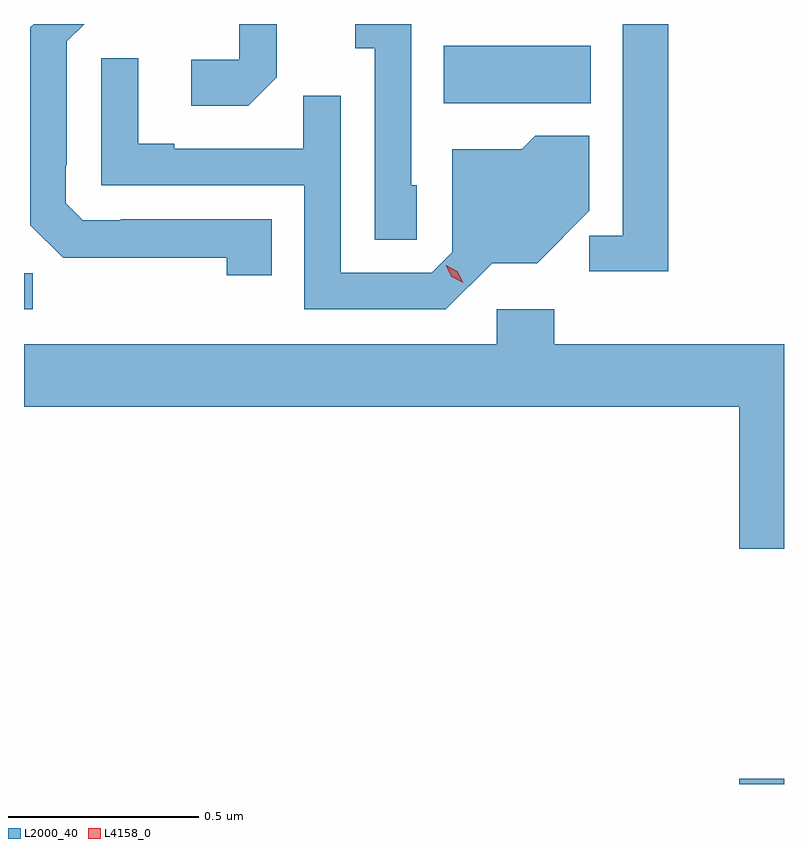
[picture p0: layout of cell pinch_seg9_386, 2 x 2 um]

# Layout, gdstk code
import gdstk
lib = gdstk.Library(unit=1e-6, precision=1e-09)
def R(c, l, rs):  # rectangles x0, y0, x1, y1
    for r in rs: c.add(gdstk.rectangle(r[:2], r[2:], *l))
def P(c, l, *ps):  # polygons
    for p in ps: c.add(gdstk.Polygon(p, *l))
L2000_40 = (2000, 40)
L4158_0 = (4158, 0)

pinch_seg9_386 = lib.new_cell('pinch_seg9_386')
R(pinch_seg9_386, L2000_40, [(392.78,1211.411,392.898,1211.425), (390.898,1212.66,390.921,1212.755), (392.002,1213.202,392.389,1213.354)])
P(pinch_seg9_386, L2000_40, [(391.563,1213.271),(391.563,1213.411),(391.464,1213.411),(391.464,1213.317),(391.338,1213.317),(391.338,1213.196),(391.488,1213.196)],
  [(392.593,1213.411),(392.474,1213.411),(392.474,1212.854),(392.386,1212.854),(392.386,1212.761),(392.593,1212.761)],
  [(391.932,1212.987),(391.917,1212.987),(391.917,1213.411),(391.77,1213.411),(391.77,1213.347),(391.821,1213.347),(391.821,1212.843),(391.932,1212.843)],
  [(391.55,1212.897),(391.153,1212.897),(391.153,1212.894),(391.053,1212.894),(391.008,1212.939),(391.008,1213.039),(391.011,1213.039),(391.011,1213.365),(391.057,1213.411),(390.924,1213.411),(390.915,1213.402),(390.915,1212.882),(391.001,1212.796),(391.432,1212.796),(391.432,1212.75),(391.55,1212.75)],
  [(392.13,1212.782),(392.248,1212.782),(392.386,1212.92),(392.386,1213.117),(392.244,1213.117),(392.208,1213.081),(392.025,1213.081),(392.025,1212.81),(391.971,1212.756),(391.731,1212.756),(391.731,1213.222),(391.633,1213.222),(391.633,1213.083),(391.294,1213.083),(391.294,1213.096),(391.198,1213.096),(391.198,1213.321),(391.101,1213.321),(391.101,1212.987),(391.635,1212.987),(391.635,1212.66),(392.008,1212.66)],
  [(392.898,1212.568),(392.294,1212.568),(392.294,1212.661),(392.142,1212.661),(392.142,1212.568),(390.898,1212.568),(390.898,1212.404),(392.78,1212.404),(392.78,1212.03),(392.898,1212.03)])
P(pinch_seg9_386, L4158_0, [(392.054,1212.73),(392.024,1212.746),(392.008,1212.776),(392.008,1212.776),(392.009,1212.776),(392.038,1212.76),(392.054,1212.73),(392.054,1212.73)])

lib.write_gds('pinch_seg9_386.gds')
